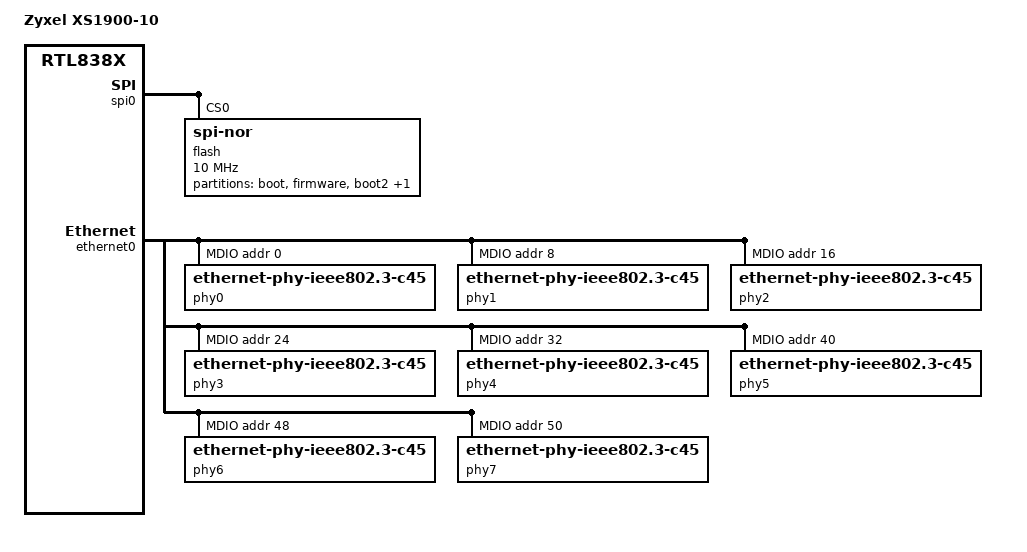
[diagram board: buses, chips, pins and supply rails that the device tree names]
/dts-v1/;

#include "rtl931x.dtsi"

#include <dt-bindings/input/input.h>
#include <dt-bindings/gpio/gpio.h>

/ {
	compatible = "zyxel,xs1930", "realtek,rtl838x-soc";
	model = "Zyxel XS1900-10";
/*
	aliases {
		led-boot = &led_sys;
		led-failsafe = &led_sys;
		led-running = &led_sys;
		led-upgrade = &led_sys;
	};	
*/
	chosen {
		bootargs = "console=ttyS0,115200";
	};
/*
	leds {
		compatible = "gpio-leds";

		led_sys: sys {
			label = "gs1900_46:green:sys";
			gpios = <&gpio0 46 GPIO_ACTIVE_HIGH>;
		};
	}; */
};
/*
&gpio0 {
	indirect-access-bus-id = <0>;
};
*/
&spi0 {
	status = "okay";
	flash@0 {
		compatible = "jedec,spi-nor";
		reg = <0>;
		spi-max-frequency = <10000000>;

		partitions {
			compatible = "fixed-partitions";
			#address-cells = <1>;
			#size-cells = <1>;

			partition@0 {
				label = "boot";
				reg = <0x0 0xa0000>;
				read-only;
			};

/*
 * not possible due to 64k sector size, we'd need to use 4k sectors for those:
 * 			partition@9e000 {
 * 				label = "u-boot-env";
 * 				reg = <0x9e000 0x1000>;
 * 			};
 * 			partition@9f000 {
 * 				label = "devinfo";
 * 				reg = <0x9f000 0x1000>;
 * 				read-only;
 * 			};
 */

			partition@a0000 {
				label = "firmware";
				reg = <0xa0000 0xf60000>;
			};

			partition@1000000 {
				label = "boot2";
				reg = <0x1000000 0xa0000>;
				read-only;
			};

			partition@10a0000 {
				label = "runtime2";
				reg = <0x10a0000 0xf60000>;
			};

		};
	};
};

&ethernet0 {
	mdio: mdio-bus {
		compatible = "realtek,rtl838x-mdio";
		regmap = <&ethernet0>;
		#address-cells = <1>;
		#size-cells = <0>;
		
		/* External phy ARQ813 */
		phy0: ethernet-phy@0 {
			reg = <0>;
			compatible = "ethernet-phy-ieee802.3-c45";
			rtl9300,smi-address = <0 8>;
			sds = < 2 >;
		};
		phy1: ethernet-phy@1 {
			reg = <8>;
			compatible = "ethernet-phy-ieee802.3-c45";
			rtl9300,smi-address = <0 9>;
			sds = < 3 >;
		};
		phy2: ethernet-phy@2 {
			reg = <16>;
			compatible = "ethernet-phy-ieee802.3-c45";
			rtl9300,smi-address = <0 10>;
			sds = < 4 >;
		};
		phy3: ethernet-phy@3 {
			reg = <24>;
			compatible = "ethernet-phy-ieee802.3-c45";
			rtl9300,smi-address = <0 11>;
			sds = < 5 >;
		};
		phy4: ethernet-phy@4 {
			reg = <32>;
			compatible = "ethernet-phy-ieee802.3-c45";
			rtl9300,smi-address = <0 12>;
			sds = < 6 >;
		};
		phy5: ethernet-phy@5 {
			reg = <40>;
			compatible = "ethernet-phy-ieee802.3-c45";
			rtl9300,smi-address = <0 13>;
			sds = < 7 >;
		};
		phy6: ethernet-phy@6 {
			reg = <48>;
			compatible = "ethernet-phy-ieee802.3-c45";
			rtl9300,smi-address = <0 14>;
			sds = < 8 >;
		};
		phy7: ethernet-phy@7 {
			reg = <50>;
			compatible = "ethernet-phy-ieee802.3-c45";
			rtl9300,smi-address = <0 15>;
		};

		/* RTL9313 Internal Serdes
		phy52: ethernet-phy@48 {
			compatible = "ethernet-phy-ieee802.3-c22";
			phy-is-integrated;
			reg = <52>;
			rtl9300,smi-address = <2 0>;
		};
		phy53: ethernet-phy@49 {
			compatible = "ethernet-phy-ieee802.3-c22";
			phy-is-integrated;
			reg = <53>;
			rtl9300,smi-address = <3 0>;
		}; */

	};
};

&switch0 {
	ports {
		#address-cells = <1>;
		#size-cells = <0>;

		port@0 {
			reg = <0>;
			label = "lan1";
			phy-handle = <&phy0>;
			phy-mode = "usxgmii";
		};
		port@8 {
			reg = <8>;
			label = "lan2";
			phy-handle = <&phy1>;
			phy-mode = "usxgmii";
		};
		port@16 {
			reg = <16>;
			label = "lan3";
			phy-handle = <&phy2>;
			phy-mode = "usxgmii";
		};
		port@24 {
			reg = <24>;
			label = "lan4";
			phy-handle = <&phy3>;
			phy-mode = "usxgmii";
		};
		port@32 {
			reg = <32>;
			label = "lan5";
			phy-handle = <&phy4>;
			phy-mode = "usxgmii";
		};
		port@40 {
			reg = <40>;
			label = "lan6";
			phy-handle = <&phy5>;
			phy-mode = "usxgmii";
		};
		port@48 {
			reg = <48>;
			label = "lan7";
			phy-handle = <&phy6>;
			phy-mode = "usxgmii";
		};
		port@50 {
			reg = <50>;
			label = "lan8";
			phy-handle = <&phy7>;
			phy-mode = "usxgmii";
		};

		/* RTL9313 Internal SerDes
		port@52 {
			reg = <52>;
			label = "lan9";
			phy-mode = "internal";
			phy-handle = <&phy52>;
		};
		port@53 {
			reg = <53>;
			label = "lan10";
			phy-mode = "internal";
			phy-handle = <&phy53>;
		}; */

		/* CPU-Port */
		port@56 {
			ethernet = <&ethernet0>;
			reg = <56>;
			phy-mode = "qsgmii";
			fixed-link {
				speed = <1000>;
				full-duplex;
			};
		};
	};
};
